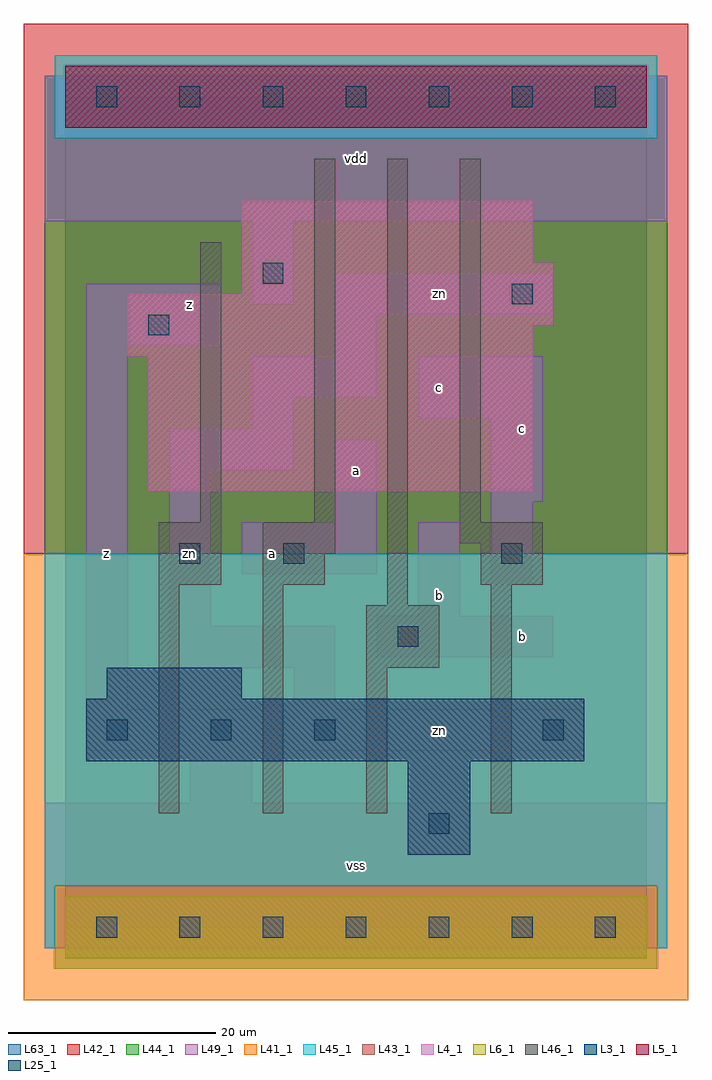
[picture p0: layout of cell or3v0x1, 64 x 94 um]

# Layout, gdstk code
import gdstk
lib = gdstk.Library(unit=1e-6, precision=1e-09)
def R(c, l, rs):  # rectangles x0, y0, x1, y1
    for r in rs: c.add(gdstk.rectangle(r[:2], r[2:], *l))
def A(c, l, x, y, w, h, nx, ny, dx, dy):  # array of equal rectangles
    R(c, l, [(x+i*dx, y+j*dy, x+i*dx+w, y+j*dy+h) for i in range(nx) for j in range(ny)])
L3_1 = (3, 1)
L4_1 = (4, 1)
L5_1 = (5, 1)
L6_1 = (6, 1)
L25_1 = (25, 1)
L41_1 = (41, 1)
L42_1 = (42, 1)
L43_1 = (43, 1)
L44_1 = (44, 1)
L45_1 = (45, 1)
L46_1 = (46, 1)
L49_1 = (49, 1)
L63_1 = (63, 1)

or3v0x1 = lib.new_cell('or3v0x1')
R(or3v0x1, L3_1, [(33,7,39,16), (2,16,50,22), (4,22,17,25)])
R(or3v0x1, L4_1, [(8,42,45,55), (6,55,45,58), (6,58,47,61), (17,61,47,64), (17,64,45,70)])
R(or3v0x1, L5_1, [(0,77,56,83)])
R(or3v0x1, L6_1, [(0,-3,56,3), (0,-3,56,3)])
A(or3v0x1, L25_1, 3, -1, 2, 2, 7, 2, 8, 80)
A(or3v0x1, L25_1, 4, 18, 2, 2, 3, 1, 10, 0)
R(or3v0x1, L25_1, [(35,9,37,11), (46,18,48,20), (32,27,34,29), (11,35,13,37), (21,35,23,37), (42,35,44,37), (8,57,10,59), (43,60,45,62), (19,62,21,64)])
R(or3v0x1, L41_1, [(-4,-7,60,36)])
R(or3v0x1, L42_1, [(-4,36,60,87)])
R(or3v0x1, L43_1, [(0,-3,56,3), (33,7,39,16), (2,16,50,22), (4,22,17,25), (8,42,45,55), (6,55,45,58), (6,58,47,61), (17,61,47,64), (17,64,45,70), (0,77,56,83)])
R(or3v0x1, L44_1, [(-1,-4,57,4), (-2,36,58,76), (-2,76,-1,82), (57,76,58,82)])
R(or3v0x1, L45_1, [(-2,-2,-1,4), (57,-2,58,4), (-2,4,58,36), (-1,76,57,84)])
R(or3v0x1, L46_1, [(9,11,11,33), (19,11,21,33), (29,11,31,25), (41,11,43,33), (29,25,36,31), (31,31,33,74), (9,33,15,39), (19,33,25,36), (40,33,46,37), (19,36,26,39), (38,37,46,39), (13,39,15,66), (24,39,26,74), (38,39,40,74)])
R(or3v0x1, L49_1, [(-2,-2,58,12), (12,12,18,21), (2,17,8,21), (22,17,50,21), (2,21,6,56), (22,21,26,25), (10,25,26,29), (30,26,47,30), (10,29,14,44), (34,30,38,39), (41,33,45,41), (17,34,30,39), (26,39,30,47), (41,41,46,49), (10,44,22,48), (18,48,22,51), (34,49,46,55), (18,51,30,55), (26,55,30,59), (2,56,15,62), (26,59,47,63), (18,60,22,68), (-2,68,58,82)])
R(or3v0x1, L63_1, [(0,0,56,80)])
or3v0x1.add(gdstk.Label('z', (4,36), layer=49, texttype=1))
or3v0x1.add(gdstk.Label('a', (20,36), layer=49, texttype=1))
or3v0x1.add(gdstk.Label('zn', (12,36), layer=49, texttype=1))
or3v0x1.add(gdstk.Label('z', (12,60), layer=49, texttype=1))
or3v0x1.add(gdstk.Label('vss', (28,6), layer=49, texttype=1))
or3v0x1.add(gdstk.Label('b', (36,32), layer=49, texttype=1))
or3v0x1.add(gdstk.Label('a', (28,44), layer=49, texttype=1))
or3v0x1.add(gdstk.Label('c', (36,52), layer=49, texttype=1))
or3v0x1.add(gdstk.Label('vdd', (28,74), layer=49, texttype=1))
or3v0x1.add(gdstk.Label('zn', (36,19), layer=49, texttype=1))
or3v0x1.add(gdstk.Label('b', (44,28), layer=49, texttype=1))
or3v0x1.add(gdstk.Label('c', (44,48), layer=49, texttype=1))
or3v0x1.add(gdstk.Label('zn', (36,61), layer=49, texttype=1))

lib.write_gds('or3v0x1.gds')
